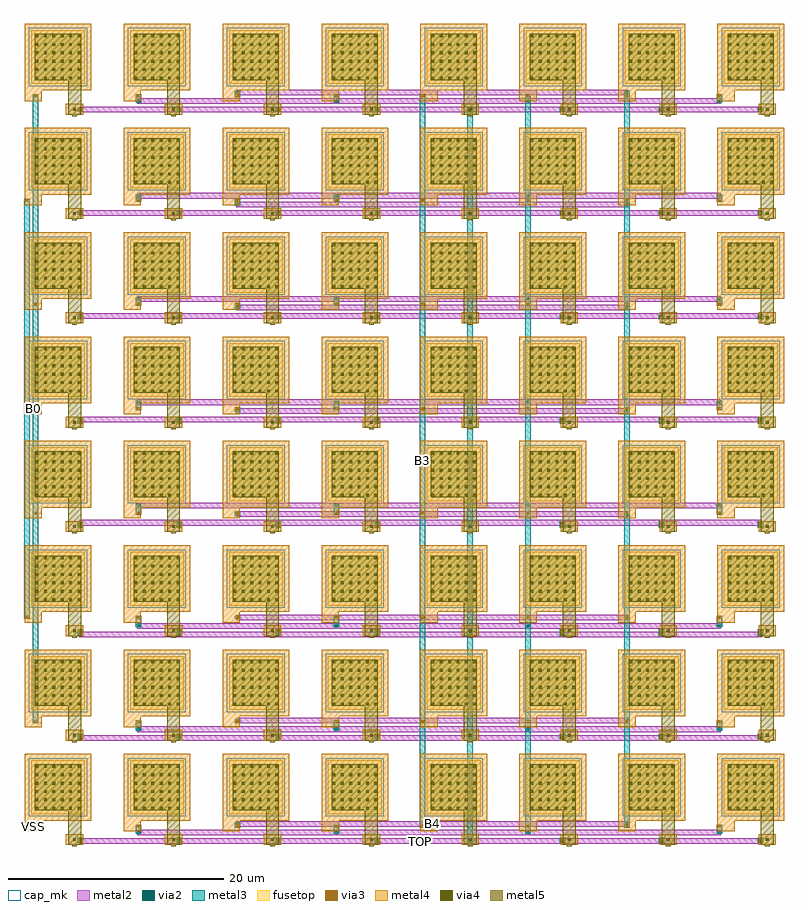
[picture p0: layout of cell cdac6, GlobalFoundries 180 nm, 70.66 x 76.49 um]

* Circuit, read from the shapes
.subckt cdac6 B0 B1 B2 B3 B4 B5 TOP VSS
XC1 TOP VSS cap_mim_2f0fF c_width=5u c_length=5u
XC2 TOP B2 cap_mim_2f0fF c_width=5u c_length=5u m=4
XC3 TOP B1 cap_mim_2f0fF c_width=5u c_length=5u m=2
XC4 TOP B0 cap_mim_2f0fF c_width=5u c_length=5u
XC5 TOP B5 cap_mim_2f0fF c_width=5u c_length=5u m=32
XC6 TOP B4 cap_mim_2f0fF c_width=5u c_length=5u m=16
XC7 TOP B3 cap_mim_2f0fF c_width=5u c_length=5u m=8
.ends

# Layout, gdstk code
import gdstk
lib = gdstk.Library(unit=1e-6, precision=1e-09)
def R(c, l, rs):  # rectangles x0, y0, x1, y1
    for r in rs: c.add(gdstk.rectangle(r[:2], r[2:], *l))
def A(c, l, x, y, w, h, nx, ny, dx, dy):  # array of equal rectangles
    R(c, l, [(x+i*dx, y+j*dy, x+i*dx+w, y+j*dy+h) for i in range(nx) for j in range(ny)])
metal2 = (36, 0)
via2 = (38, 0)
via3 = (40, 0)
via4 = (41, 0)
metal3 = (42, 0)
metal4 = (46, 0)
fusetop = (75, 0)
metal5 = (81, 0)
cap_mk = (117, 5)

cdac6 = lib.new_cell('cdac6')
A(cdac6, metal2, 5.06, 1.34, 0.28, 0.52, 4, 3, 9.2, 9.6)
A(cdac6, metal2, 5.2, 1.34, 63.2, 0.52, 1, 3, 0, 9.6)
A(cdac6, metal2, 49.86, 1.34, 0.28, 0.52, 3, 3, 9.2, 9.6)
A(cdac6, metal2, 10.46, 2.14, 0.28, 0.52, 1, 3, 0, 9.6)
A(cdac6, metal2, 10.6, 2.14, 54, 0.52, 1, 3, 0, 9.6)
A(cdac6, metal2, 28.86, 2.14, 0.28, 0.52, 1, 3, 0, 9.6)
A(cdac6, metal2, 64.46, 2.14, 0.28, 0.52, 1, 3, 0, 9.6)
A(cdac6, metal2, 19.66, 2.94, 0.28, 0.52, 1, 7, 0, 9.6)
A(cdac6, metal2, 19.8, 2.94, 36.2, 0.52, 1, 7, 0, 9.6)
A(cdac6, metal2, 5.06, 30.94, 0.28, 0.52, 4, 5, 9.2, 9.6)
A(cdac6, metal2, 5.2, 30.94, 63.2, 0.52, 1, 5, 0, 9.6)
A(cdac6, metal2, 49.86, 30.94, 0.28, 0.52, 3, 5, 9.2, 9.6)
A(cdac6, metal2, 10.46, 32.54, 0.28, 0.52, 1, 4, 0, 9.6)
A(cdac6, metal2, 10.6, 32.54, 54, 0.52, 1, 4, 0, 9.6)
A(cdac6, metal2, 28.86, 32.54, 0.28, 0.52, 1, 4, 0, 9.6)
A(cdac6, metal2, 64.46, 32.54, 0.28, 0.52, 1, 4, 0, 9.6)
R(cdac6, metal2, [(41.26,1.34,41.54,1.86), (41.26,1.34,41.54,1.86), (46.66,2.14,46.94,2.66), (46.66,2.14,46.94,2.66), (55.86,2.94,56.14,3.46), (55.86,2.94,56.14,3.46), (41.26,10.94,41.54,11.46), (41.26,10.94,41.54,11.46), (46.66,11.74,46.94,12.26), (46.66,11.74,46.94,12.26), (55.86,12.54,56.14,13.06), (55.86,12.54,56.14,13.06), (41.26,20.54,41.54,21.06), (41.26,20.54,41.54,21.06), (46.66,21.34,46.94,21.86), (46.66,21.34,46.94,21.86), (55.86,22.14,56.14,22.66), (55.86,22.14,56.14,22.66), (41.26,30.94,41.54,31.46), (41.26,30.94,41.54,31.46), (55.86,31.74,56.14,32.26), (55.86,31.74,56.14,32.26), (46.66,32.54,46.94,33.06), (46.66,32.54,46.94,33.06), (41.26,40.54,41.54,41.06), (41.26,40.54,41.54,41.06), (55.86,41.34,56.14,41.86), (55.86,41.34,56.14,41.86), (46.66,42.14,46.94,42.66), (46.66,42.14,46.94,42.66), (41.26,50.14,41.54,50.66), (41.26,50.14,41.54,50.66), (55.86,50.94,56.14,51.46), (55.86,50.94,56.14,51.46), (46.66,51.74,46.94,52.26), (46.66,51.74,46.94,52.26), (41.26,59.74,41.54,60.26), (41.26,59.74,41.54,60.26), (55.86,60.54,56.14,61.06), (55.86,60.54,56.14,61.06), (46.66,61.34,46.94,61.86), (46.66,61.34,46.94,61.86), (41.26,69.34,41.54,69.86), (41.26,69.34,41.54,69.86), (10.46,70.14,10.74,70.66), (10.6,70.14,64.6,70.66), (28.86,70.14,29.14,70.66), (46.66,70.14,46.94,70.66), (46.66,70.14,46.94,70.66), (64.46,70.14,64.74,70.66), (19.66,70.94,19.94,71.46), (19.8,70.94,56,71.46), (55.86,70.94,56.14,71.46), (55.86,70.94,56.14,71.46)])
A(cdac6, via2, 5.07, 1.47, 0.26, 0.26, 4, 3, 9.2, 9.6)
A(cdac6, via2, 49.87, 1.47, 0.26, 0.26, 3, 3, 9.2, 9.6)
A(cdac6, via2, 10.47, 2.27, 0.26, 0.26, 1, 3, 0, 9.6)
A(cdac6, via2, 28.87, 2.27, 0.26, 0.26, 1, 3, 0, 9.6)
A(cdac6, via2, 64.47, 2.27, 0.26, 0.26, 1, 3, 0, 9.6)
A(cdac6, via2, 19.67, 3.07, 0.26, 0.26, 1, 7, 0, 9.6)
A(cdac6, via2, 5.07, 31.07, 0.26, 0.26, 4, 5, 9.2, 9.6)
A(cdac6, via2, 49.87, 31.07, 0.26, 0.26, 3, 5, 9.2, 9.6)
A(cdac6, via2, 10.47, 32.67, 0.26, 0.26, 1, 4, 0, 9.6)
A(cdac6, via2, 28.87, 32.67, 0.26, 0.26, 1, 4, 0, 9.6)
A(cdac6, via2, 64.47, 32.67, 0.26, 0.26, 1, 4, 0, 9.6)
R(cdac6, via2, [(41.27,1.47,41.53,1.73), (41.27,1.47,41.53,1.73), (46.67,2.27,46.93,2.53), (46.67,2.27,46.93,2.53), (55.87,3.07,56.13,3.33), (55.87,3.07,56.13,3.33), (41.27,11.07,41.53,11.33), (41.27,11.07,41.53,11.33), (46.67,11.87,46.93,12.13), (46.67,11.87,46.93,12.13), (55.87,12.67,56.13,12.93), (55.87,12.67,56.13,12.93), (41.27,20.67,41.53,20.93), (41.27,20.67,41.53,20.93), (46.67,21.47,46.93,21.73), (46.67,21.47,46.93,21.73), (55.87,22.27,56.13,22.53), (55.87,22.27,56.13,22.53), (41.27,31.07,41.53,31.33), (41.27,31.07,41.53,31.33), (55.87,31.87,56.13,32.13), (55.87,31.87,56.13,32.13), (46.67,32.67,46.93,32.93), (46.67,32.67,46.93,32.93), (41.27,40.67,41.53,40.93), (41.27,40.67,41.53,40.93), (55.87,41.47,56.13,41.73), (55.87,41.47,56.13,41.73), (46.67,42.27,46.93,42.53), (46.67,42.27,46.93,42.53), (41.27,50.27,41.53,50.53), (41.27,50.27,41.53,50.53), (55.87,51.07,56.13,51.33), (55.87,51.07,56.13,51.33), (46.67,51.87,46.93,52.13), (46.67,51.87,46.93,52.13), (41.27,59.87,41.53,60.13), (41.27,59.87,41.53,60.13), (55.87,60.67,56.13,60.93), (55.87,60.67,56.13,60.93), (46.67,61.47,46.93,61.73), (46.67,61.47,46.93,61.73), (41.27,69.47,41.53,69.73), (41.27,69.47,41.53,69.73), (10.47,70.27,10.73,70.53), (28.87,70.27,29.13,70.53), (46.67,70.27,46.93,70.53), (46.67,70.27,46.93,70.53), (64.47,70.27,64.73,70.53), (19.67,71.07,19.93,71.33), (55.87,71.07,56.13,71.33), (55.87,71.07,56.13,71.33)])
A(cdac6, via3, 5.07, 1.62, 0.26, 0.26, 4, 8, 9.2, 9.7)
A(cdac6, via3, 41.27, 1.62, 0.26, 0.26, 1, 8, 0, 9.7)
A(cdac6, via3, 49.87, 1.62, 0.26, 0.26, 3, 8, 9.2, 9.7)
A(cdac6, via3, 10.47, 2.87, 0.26, 0.26, 3, 8, 9.2, 9.7)
A(cdac6, via3, 36.87, 2.87, 0.26, 0.26, 1, 8, 0, 9.7)
A(cdac6, via3, 46.67, 2.87, 0.26, 0.26, 1, 8, 0, 9.7)
A(cdac6, via3, 55.87, 2.87, 0.26, 0.26, 1, 8, 0, 9.7)
A(cdac6, via3, 64.47, 2.87, 0.26, 0.26, 1, 8, 0, 9.7)
A(cdac6, via3, 0.87, 12.57, 0.26, 0.26, 1, 4, 0, 19.4)
R(cdac6, via3, [(0.07,22.27,0.33,22.53), (0.07,61.07,0.33,61.33)])
A(cdac6, via4, 4.51, 1.62, 0.26, 0.26, 8, 8, 9.2, 9.7)
A(cdac6, via4, 1.02, 4.52, 0.26, 0.26, 6, 6, 0.78, 0.78)
A(cdac6, via4, 10.22, 4.52, 0.26, 0.26, 6, 6, 0.78, 0.78)
A(cdac6, via4, 19.42, 4.52, 0.26, 0.26, 6, 6, 0.78, 0.78)
A(cdac6, via4, 28.62, 4.52, 0.26, 0.26, 6, 6, 0.78, 0.78)
A(cdac6, via4, 37.82, 4.52, 0.26, 0.26, 6, 6, 0.78, 0.78)
A(cdac6, via4, 47.02, 4.52, 0.26, 0.26, 6, 6, 0.78, 0.78)
A(cdac6, via4, 56.22, 4.52, 0.26, 0.26, 6, 6, 0.78, 0.78)
A(cdac6, via4, 65.42, 4.52, 0.26, 0.26, 6, 6, 0.78, 0.78)
A(cdac6, via4, 1.02, 14.22, 0.26, 0.26, 6, 6, 0.78, 0.78)
A(cdac6, via4, 10.22, 14.22, 0.26, 0.26, 6, 6, 0.78, 0.78)
A(cdac6, via4, 19.42, 14.22, 0.26, 0.26, 6, 6, 0.78, 0.78)
A(cdac6, via4, 28.62, 14.22, 0.26, 0.26, 6, 6, 0.78, 0.78)
A(cdac6, via4, 37.82, 14.22, 0.26, 0.26, 6, 6, 0.78, 0.78)
A(cdac6, via4, 47.02, 14.22, 0.26, 0.26, 6, 6, 0.78, 0.78)
A(cdac6, via4, 56.22, 14.22, 0.26, 0.26, 6, 6, 0.78, 0.78)
A(cdac6, via4, 65.42, 14.22, 0.26, 0.26, 6, 6, 0.78, 0.78)
A(cdac6, via4, 1.02, 23.92, 0.26, 0.26, 6, 6, 0.78, 0.78)
A(cdac6, via4, 10.22, 23.92, 0.26, 0.26, 6, 6, 0.78, 0.78)
A(cdac6, via4, 19.42, 23.92, 0.26, 0.26, 6, 6, 0.78, 0.78)
A(cdac6, via4, 28.62, 23.92, 0.26, 0.26, 6, 6, 0.78, 0.78)
A(cdac6, via4, 37.82, 23.92, 0.26, 0.26, 6, 6, 0.78, 0.78)
A(cdac6, via4, 47.02, 23.92, 0.26, 0.26, 6, 6, 0.78, 0.78)
A(cdac6, via4, 56.22, 23.92, 0.26, 0.26, 6, 6, 0.78, 0.78)
A(cdac6, via4, 65.42, 23.92, 0.26, 0.26, 6, 6, 0.78, 0.78)
A(cdac6, via4, 1.02, 33.62, 0.26, 0.26, 6, 6, 0.78, 0.78)
A(cdac6, via4, 10.22, 33.62, 0.26, 0.26, 6, 6, 0.78, 0.78)
A(cdac6, via4, 19.42, 33.62, 0.26, 0.26, 6, 6, 0.78, 0.78)
A(cdac6, via4, 28.62, 33.62, 0.26, 0.26, 6, 6, 0.78, 0.78)
A(cdac6, via4, 37.82, 33.62, 0.26, 0.26, 6, 6, 0.78, 0.78)
A(cdac6, via4, 47.02, 33.62, 0.26, 0.26, 6, 6, 0.78, 0.78)
A(cdac6, via4, 56.22, 33.62, 0.26, 0.26, 6, 6, 0.78, 0.78)
A(cdac6, via4, 65.42, 33.62, 0.26, 0.26, 6, 6, 0.78, 0.78)
A(cdac6, via4, 1.02, 43.32, 0.26, 0.26, 6, 6, 0.78, 0.78)
A(cdac6, via4, 10.22, 43.32, 0.26, 0.26, 6, 6, 0.78, 0.78)
A(cdac6, via4, 19.42, 43.32, 0.26, 0.26, 6, 6, 0.78, 0.78)
A(cdac6, via4, 28.62, 43.32, 0.26, 0.26, 6, 6, 0.78, 0.78)
A(cdac6, via4, 37.82, 43.32, 0.26, 0.26, 6, 6, 0.78, 0.78)
A(cdac6, via4, 47.02, 43.32, 0.26, 0.26, 6, 6, 0.78, 0.78)
A(cdac6, via4, 56.22, 43.32, 0.26, 0.26, 6, 6, 0.78, 0.78)
A(cdac6, via4, 65.42, 43.32, 0.26, 0.26, 6, 6, 0.78, 0.78)
A(cdac6, via4, 1.02, 53.02, 0.26, 0.26, 6, 6, 0.78, 0.78)
A(cdac6, via4, 10.22, 53.02, 0.26, 0.26, 6, 6, 0.78, 0.78)
A(cdac6, via4, 19.42, 53.02, 0.26, 0.26, 6, 6, 0.78, 0.78)
A(cdac6, via4, 28.62, 53.02, 0.26, 0.26, 6, 6, 0.78, 0.78)
A(cdac6, via4, 37.82, 53.02, 0.26, 0.26, 6, 6, 0.78, 0.78)
A(cdac6, via4, 47.02, 53.02, 0.26, 0.26, 6, 6, 0.78, 0.78)
A(cdac6, via4, 56.22, 53.02, 0.26, 0.26, 6, 6, 0.78, 0.78)
A(cdac6, via4, 65.42, 53.02, 0.26, 0.26, 6, 6, 0.78, 0.78)
A(cdac6, via4, 1.02, 62.72, 0.26, 0.26, 6, 6, 0.78, 0.78)
A(cdac6, via4, 10.22, 62.72, 0.26, 0.26, 6, 6, 0.78, 0.78)
A(cdac6, via4, 19.42, 62.72, 0.26, 0.26, 6, 6, 0.78, 0.78)
A(cdac6, via4, 28.62, 62.72, 0.26, 0.26, 6, 6, 0.78, 0.78)
A(cdac6, via4, 37.82, 62.72, 0.26, 0.26, 6, 6, 0.78, 0.78)
A(cdac6, via4, 47.02, 62.72, 0.26, 0.26, 6, 6, 0.78, 0.78)
A(cdac6, via4, 56.22, 62.72, 0.26, 0.26, 6, 6, 0.78, 0.78)
A(cdac6, via4, 65.42, 62.72, 0.26, 0.26, 6, 6, 0.78, 0.78)
A(cdac6, via4, 1.02, 72.42, 0.26, 0.26, 6, 6, 0.78, 0.78)
A(cdac6, via4, 10.22, 72.42, 0.26, 0.26, 6, 6, 0.78, 0.78)
A(cdac6, via4, 19.42, 72.42, 0.26, 0.26, 6, 6, 0.78, 0.78)
A(cdac6, via4, 28.62, 72.42, 0.26, 0.26, 6, 6, 0.78, 0.78)
A(cdac6, via4, 37.82, 72.42, 0.26, 0.26, 6, 6, 0.78, 0.78)
A(cdac6, via4, 47.02, 72.42, 0.26, 0.26, 6, 6, 0.78, 0.78)
A(cdac6, via4, 56.22, 72.42, 0.26, 0.26, 6, 6, 0.78, 0.78)
A(cdac6, via4, 65.42, 72.42, 0.26, 0.26, 6, 6, 0.78, 0.78)
A(cdac6, metal3, 4.94, 1.46, 0.52, 0.28, 4, 2, 9.2, 0.15)
A(cdac6, metal3, 49.74, 1.46, 0.52, 0.28, 3, 2, 9.2, 0.15)
A(cdac6, metal3, 4.94, 1.6, 0.52, 0.15, 4, 2, 9.2, 48.65)
A(cdac6, metal3, 49.74, 1.6, 0.52, 0.15, 3, 2, 9.2, 48.65)
A(cdac6, metal3, 10.34, 2.26, 0.52, 0.28, 1, 3, 0, 9.6)
A(cdac6, metal3, 28.74, 2.26, 0.52, 0.28, 1, 3, 0, 9.6)
A(cdac6, metal3, 28.74, 2.4, 0.52, 0.6, 3, 2, 17.8, 39.4)
A(cdac6, metal3, 10.34, 2.86, 0.52, 0.28, 3, 2, 9.2, 9.7)
A(cdac6, metal3, 36.74, 2.86, 0.52, 0.28, 1, 8, 0, 9.7)
A(cdac6, metal3, 19.54, 3.06, 0.52, 0.28, 1, 3, 0, 9.6)
A(cdac6, metal3, 4.94, 11.06, 0.52, 0.28, 4, 2, 9.2, 0.25)
A(cdac6, metal3, 49.74, 11.06, 0.52, 0.28, 3, 2, 9.2, 0.25)
A(cdac6, metal3, 4.94, 11.2, 0.52, 0.25, 4, 2, 9.2, 29.35)
A(cdac6, metal3, 49.74, 11.2, 0.52, 0.25, 3, 2, 9.2, 29.35)
A(cdac6, metal3, 28.74, 12, 0.52, 0.7, 3, 2, 17.8, 20.1)
A(cdac6, metal3, 0.74, 12.56, 0.52, 0.28, 1, 4, 0, 19.4)
A(cdac6, metal3, 4.94, 20.66, 0.52, 0.28, 4, 2, 9.2, 0.35)
A(cdac6, metal3, 49.74, 20.66, 0.52, 0.28, 3, 2, 9.2, 0.35)
A(cdac6, metal3, 4.94, 20.8, 0.52, 0.35, 4, 2, 9.2, 10.05)
A(cdac6, metal3, 49.74, 20.8, 0.52, 0.35, 3, 2, 9.2, 10.05)
A(cdac6, metal3, 28.74, 21.6, 0.52, 0.8, 3, 1, 17.8, 0)
A(cdac6, metal3, 19.54, 22.26, 0.52, 0.28, 1, 5, 0, 9.6)
A(cdac6, metal3, 4.94, 30.71, 0.52, 0.28, 4, 2, 9.2, 0.35)
A(cdac6, metal3, 49.74, 30.71, 0.52, 0.28, 3, 2, 9.2, 0.35)
A(cdac6, metal3, 10.34, 31.96, 0.52, 0.28, 3, 5, 9.2, 9.7)
A(cdac6, metal3, 10.34, 32.66, 0.52, 0.28, 1, 4, 0, 9.6)
A(cdac6, metal3, 28.74, 32.66, 0.52, 0.28, 1, 4, 0, 9.6)
A(cdac6, metal3, 4.94, 40.41, 0.52, 0.28, 4, 2, 9.2, 0.25)
A(cdac6, metal3, 49.74, 40.41, 0.52, 0.28, 3, 2, 9.2, 0.25)
A(cdac6, metal3, 4.94, 50.11, 0.52, 0.28, 4, 2, 9.2, 0.15)
A(cdac6, metal3, 49.74, 50.11, 0.52, 0.28, 3, 2, 9.2, 0.15)
A(cdac6, metal3, 28.74, 51.5, 0.52, 0.5, 3, 2, 17.8, 18.9)
A(cdac6, metal3, 4.94, 59.81, 0.52, 0.28, 4, 2, 9.2, 0.05)
A(cdac6, metal3, 49.74, 59.81, 0.52, 0.28, 3, 2, 9.2, 0.05)
A(cdac6, metal3, 4.94, 59.95, 0.52, 0.05, 4, 2, 9.2, 9.65)
A(cdac6, metal3, 49.74, 59.95, 0.52, 0.05, 3, 2, 9.2, 9.65)
A(cdac6, metal3, 28.74, 61.2, 0.52, 0.4, 3, 1, 17.8, 0)
A(cdac6, metal3, 4.94, 69.46, 0.52, 0.28, 4, 2, 9.2, 0.05)
A(cdac6, metal3, 49.74, 69.46, 0.52, 0.28, 3, 2, 9.2, 0.05)
R(cdac6, metal3, [(41.14,1.46,41.66,1.74), (41.14,1.46,41.66,1.74), (41.14,1.6,41.66,69.6), (41.14,1.6,41.66,1.75), (41.14,1.61,41.66,1.89), (46.54,2.26,47.06,2.54), (46.54,2.26,47.06,2.54), (64.34,2.26,64.86,2.54), (10.34,2.4,10.86,3), (46.54,2.4,47.06,70.4), (46.54,2.86,47.06,3.14), (55.74,2.86,56.26,3.14), (64.34,2.86,64.86,3.14), (19.54,3,20.06,3.2), (36.74,3,37.26,70.9), (55.74,3,56.26,3.2), (55.74,3.06,56.26,3.34), (55.74,3.06,56.26,3.34), (55.74,3.2,56.26,71.2), (41.14,11.06,41.66,11.34), (41.14,11.06,41.66,11.34), (41.14,11.2,41.66,11.45), (41.14,11.31,41.66,11.59), (46.54,11.86,47.06,12.14), (46.54,11.86,47.06,12.14), (64.34,11.86,64.86,12.14), (10.34,12,10.86,12.7), (46.54,12.56,47.06,12.84), (55.74,12.56,56.26,12.84), (64.34,12.56,64.86,12.84), (55.74,12.66,56.26,12.94), (55.74,12.66,56.26,12.94), (0.74,12.7,1.26,70.9), (19.54,12.7,20.06,12.8), (55.74,12.7,56.26,12.8), (41.14,20.66,41.66,20.94), (41.14,20.66,41.66,20.94), (41.14,20.8,41.66,21.15), (41.14,21.01,41.66,21.29), (46.54,21.46,47.06,21.74), (46.54,21.46,47.06,21.74), (64.34,21.46,64.86,21.74), (10.34,21.6,10.86,22.4), (-0.06,22.26,0.46,22.54), (10.34,22.26,10.86,22.54), (28.74,22.26,29.26,22.54), (46.54,22.26,47.06,22.54), (55.74,22.26,56.26,22.54), (55.74,22.26,56.26,22.54), (55.74,22.26,56.26,22.54), (64.34,22.26,64.86,22.54), (-0.06,22.4,0.46,61.2), (41.14,30.71,41.66,30.99), (41.14,30.85,41.66,31.2), (41.14,31.06,41.66,31.34), (41.14,31.06,41.66,31.34), (55.74,31.86,56.26,32.14), (55.74,31.86,56.26,32.14), (46.54,31.96,47.06,32.24), (55.74,31.96,56.26,32.24), (64.34,31.96,64.86,32.24), (19.54,32,20.06,32.1), (55.74,32,56.26,32.1), (10.34,32.1,10.86,32.8), (46.54,32.66,47.06,32.94), (46.54,32.66,47.06,32.94), (64.34,32.66,64.86,32.94), (41.14,40.41,41.66,40.69), (41.14,40.55,41.66,40.8), (41.14,40.66,41.66,40.94), (41.14,40.66,41.66,40.94), (55.74,41.46,56.26,41.74), (55.74,41.46,56.26,41.74), (19.54,41.6,20.06,41.8), (55.74,41.6,56.26,41.8), (46.54,41.66,47.06,41.94), (55.74,41.66,56.26,41.94), (64.34,41.66,64.86,41.94), (10.34,41.8,10.86,42.4), (46.54,42.26,47.06,42.54), (46.54,42.26,47.06,42.54), (64.34,42.26,64.86,42.54), (41.14,50.11,41.66,50.39), (41.14,50.25,41.66,50.4), (41.14,50.26,41.66,50.54), (41.14,50.26,41.66,50.54), (55.74,51.06,56.26,51.34), (55.74,51.06,56.26,51.34), (19.54,51.2,20.06,51.5), (55.74,51.2,56.26,51.5), (46.54,51.36,47.06,51.64), (55.74,51.36,56.26,51.64), (64.34,51.36,64.86,51.64), (10.34,51.5,10.86,52), (46.54,51.86,47.06,52.14), (46.54,51.86,47.06,52.14), (64.34,51.86,64.86,52.14), (41.14,59.81,41.66,60.09), (41.14,59.86,41.66,60.14), (41.14,59.86,41.66,60.14), (41.14,59.95,41.66,60), (55.74,60.66,56.26,60.94), (55.74,60.66,56.26,60.94), (19.54,60.8,20.06,61.2), (55.74,60.8,56.26,61.2), (-0.06,61.06,0.46,61.34), (46.54,61.06,47.06,61.34), (55.74,61.06,56.26,61.34), (64.34,61.06,64.86,61.34), (10.34,61.2,10.86,61.6), (46.54,61.46,47.06,61.74), (46.54,61.46,47.06,61.74), (64.34,61.46,64.86,61.74), (41.14,69.46,41.66,69.74), (41.14,69.46,41.66,69.74), (41.14,69.51,41.66,69.79), (41.14,69.6,41.66,69.65), (10.34,70.26,10.86,70.54), (28.74,70.26,29.26,70.54), (46.54,70.26,47.06,70.54), (46.54,70.26,47.06,70.54), (64.34,70.26,64.86,70.54), (10.34,70.4,10.86,70.9), (46.54,70.76,47.06,71.04), (55.74,70.76,56.26,71.04), (64.34,70.76,64.86,71.04), (19.54,70.9,20.06,71.2), (55.74,70.9,56.26,71.2), (19.54,71.06,20.06,71.34), (55.74,71.06,56.26,71.34), (55.74,71.06,56.26,71.34)])
A(cdac6, metal4, 3.84, 1.25, 1.6, 1, 8, 8, 9.2, 9.7)
A(cdac6, metal4, 4.5, 1.49, 0.28, 0.52, 1, 8, 0, 9.7)
A(cdac6, metal4, 5.06, 1.49, 0.28, 0.52, 1, 8, 0, 9.7)
A(cdac6, metal4, 13.7, 1.49, 0.28, 0.52, 1, 8, 0, 9.7)
A(cdac6, metal4, 14.26, 1.49, 0.28, 0.52, 1, 8, 0, 9.7)
A(cdac6, metal4, 22.9, 1.49, 0.28, 0.52, 1, 8, 0, 9.7)
A(cdac6, metal4, 23.46, 1.49, 0.28, 0.52, 1, 8, 0, 9.7)
A(cdac6, metal4, 32.1, 1.49, 0.28, 0.52, 1, 8, 0, 9.7)
A(cdac6, metal4, 32.66, 1.49, 0.28, 0.52, 1, 8, 0, 9.7)
A(cdac6, metal4, 41.26, 1.49, 0.28, 0.52, 1, 8, 0, 9.7)
A(cdac6, metal4, 41.3, 1.49, 0.28, 0.52, 1, 8, 0, 9.7)
A(cdac6, metal4, 49.86, 1.49, 0.28, 0.52, 1, 8, 0, 9.7)
A(cdac6, metal4, 50.5, 1.49, 0.28, 0.52, 1, 8, 0, 9.7)
A(cdac6, metal4, 59.06, 1.49, 0.28, 0.52, 1, 8, 0, 9.7)
A(cdac6, metal4, 59.7, 1.49, 0.28, 0.52, 1, 8, 0, 9.7)
A(cdac6, metal4, 68.26, 1.49, 0.28, 0.52, 1, 8, 0, 9.7)
A(cdac6, metal4, 68.9, 1.49, 0.28, 0.52, 1, 8, 0, 9.7)
A(cdac6, metal4, 0, 2.5, 1.6, 1, 8, 8, 9.2, 9.7)
A(cdac6, metal4, 10.46, 2.74, 0.28, 0.52, 3, 8, 9.2, 9.7)
A(cdac6, metal4, 36.86, 2.74, 0.28, 0.52, 1, 8, 0, 9.7)
A(cdac6, metal4, 46.66, 2.74, 0.28, 0.52, 1, 8, 0, 9.7)
A(cdac6, metal4, 55.86, 2.74, 0.28, 0.52, 1, 8, 0, 9.7)
A(cdac6, metal4, 64.46, 2.74, 0.28, 0.52, 1, 8, 0, 9.7)
A(cdac6, metal4, 0, 3.5, 6.2, 6.2, 8, 8, 9.2, 9.7)
A(cdac6, metal4, 0.86, 12.44, 0.28, 0.52, 1, 4, 0, 19.4)
R(cdac6, metal4, [(0,2.5,1.6,3.5), (0.06,22.14,0.34,22.66), (0,41.3,1.6,42.3), (0.06,60.94,0.34,61.46)])
A(cdac6, fusetop, 0.6, 4.1, 5, 5, 8, 8, 9.2, 9.7)
A(cdac6, metal5, 4.42, 1.11, 0.44, 1.28, 8, 8, 9.2, 9.7)
A(cdac6, metal5, 4.04, 1.25, 1.2, 3.71, 8, 8, 9.2, 9.7)
A(cdac6, metal5, 0.96, 4.46, 4.28, 4.28, 8, 8, 9.2, 9.7)
A(cdac6, cap_mk, 0.4, 3.9, 5.4, 5.4, 8, 8, 9.2, 9.7)
cdac6.add(gdstk.Label('TOP', (36.8,1.6), layer=36, texttype=10))
cdac6.add(gdstk.Label('B4', (37.9,3.2), layer=36, texttype=10))
cdac6.add(gdstk.Label('B5', (37.6,2.4), layer=36, texttype=10))
cdac6.add(gdstk.Label('B0', (0.8,41.8), layer=46, texttype=10))
cdac6.add(gdstk.Label('VSS', (0.8,3), layer=46, texttype=10))
cdac6.add(gdstk.Label('B1', (0.2,41.8), layer=42, texttype=10))
cdac6.add(gdstk.Label('B2', (1,41.8), layer=42, texttype=10))
cdac6.add(gdstk.Label('B3', (37,36.95), layer=42, texttype=10))

lib.write_gds('cdac6.gds')
